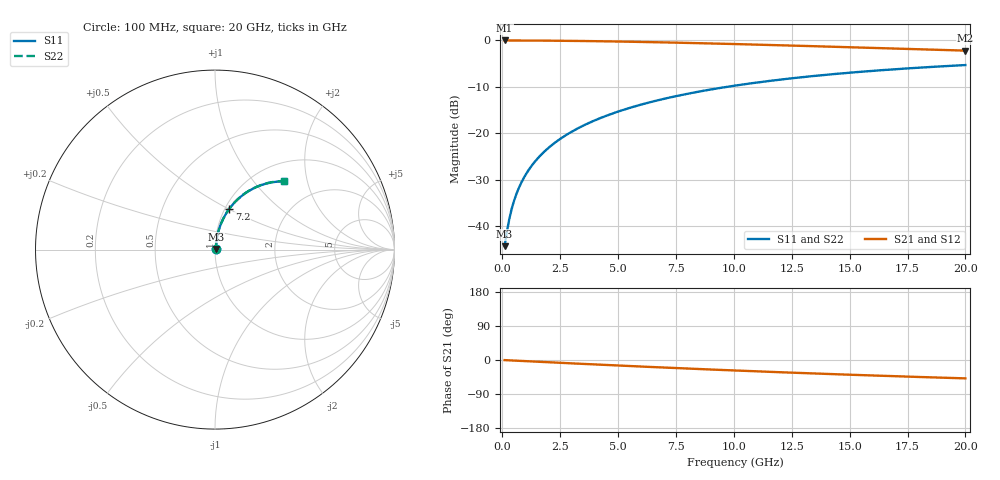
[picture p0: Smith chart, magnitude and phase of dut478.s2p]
! Touchstone file exported from HFSS 2024.1.0
!  File:  C:/UserFiles/LocalFiles/RDL_TSV_Batchsim/temp_RDL_bottom_478_1779686302.aedt
!  Generated:  01:20:56 PM May 25, 2026
!  Design:  RDL_bottom
!  Project:  temp_RDL_bottom_478_1779686302
!  Setup:  Setup1
!  Solution:  Sweep
! Variables:
!  dtsv = 10.80580581um
!  hbump = 3um
!  htsv = 61.97um
!  ldown = 617.61um
!  lrdl = 100um
!  p = 40
!  p1 = 56.53um
!  rhole = 1um
!  t = 450um
!  tdown = 3.83um
!  trdl = 3.915915916um
!  wdown = 11.7um
!  wrdl = 20um
# GHz S MA R 50.000000
! Terminal data exported
! Port[1] = RDL1_T1
! Port[2] = RDL1_T2
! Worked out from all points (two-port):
!   200 points, 100 MHz to 20 GHz, reference 50 ohm
!   highest |S21| = -0.04 dB at 100 MHz (marker M1); lowest = -2.2 dB at 20 GHz (marker M2)
!   |S21| within 3 dB of the highest: start of sweep to end of sweep
!   lowest |S11| = -44.3 dB at 100 MHz (marker M3), VSWR 1.01, Z = 50.5 + j0.361 ohm
!   |S11| at or under -10 dB: start of sweep to 9.739 GHz
!   |S22| runs from -44.3 to -5.3 dB; largest |S21 - S12| = 4.4e-15
!   S11 on the Smith chart (normalised r, x): 100 MHz: 1.01, +0.01; 7.2 GHz: 1.05, +0.51; 20 GHz: 1.35, +1.45
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0.1  0.006078 36.0  0.9951 -0.3  0.9951 -0.3  0.006078 36.0
! Gamma 0 0 0 0
! Port Impedance 50 0 50 0
0.2  0.008713 54.8  0.995 -0.6  0.995 -0.6  0.008713 54.8
0.3  0.01183 64.1  0.9949 -0.9  0.9949 -0.9  0.01183 64.1
0.4  0.01512 69.2  0.9947 -1.2  0.9947 -1.2  0.01511 69.2
0.5  0.01846 72.4  0.9945 -1.5  0.9945 -1.5  0.01846 72.4
0.6  0.02183 74.5  0.9943 -1.8  0.9943 -1.8  0.02183 74.6
0.8  0.02861 77.2  0.9939 -2.4  0.9939 -2.4  0.02861 77.2
1.1  0.03884 79.1  0.9932 -3.3  0.9932 -3.3  0.03884 79.2
1.5  0.05252 80.2  0.992 -4.5  0.992 -4.5  0.05252 80.2
1.8  0.0628 80.4  0.9909 -5.4  0.9909 -5.4  0.0628 80.4
2.1  0.07307 80.3  0.9897 -6.2  0.9897 -6.2  0.07307 80.3
2.7  0.09355 79.7  0.9866 -8.0  0.9866 -8.0  0.09356 79.8
3.5  0.1207 78.5  0.9816 -10.3  0.9816 -10.3  0.1207 78.5
4.2  0.1442 77.2  0.9762 -12.3  0.9762 -12.3  0.1442 77.2
5  0.1707 75.5  0.9693 -14.5  0.9693 -14.5  0.1707 75.6
6.8  0.2285 71.6  0.9507 -19.4  0.9507 -19.4  0.2286 71.6
7.2  0.241 70.7  0.9461 -20.5  0.9461 -20.5  0.2411 70.7
8.6  0.2833 67.5  0.9291 -24.1  0.9291 -24.1  0.2835 67.6
10.1  0.3263 64.2  0.9095 -27.8  0.9095 -27.8  0.3266 64.3
13.4  0.4112 57.1  0.864 -35.4  0.864 -35.4  0.4116 57.2
16.7  0.4825 50.6  0.8178 -42.3  0.8178 -42.3  0.483 50.7
20  0.5409 44.7  0.7734 -48.5  0.7734 -48.5  0.5415 44.8
